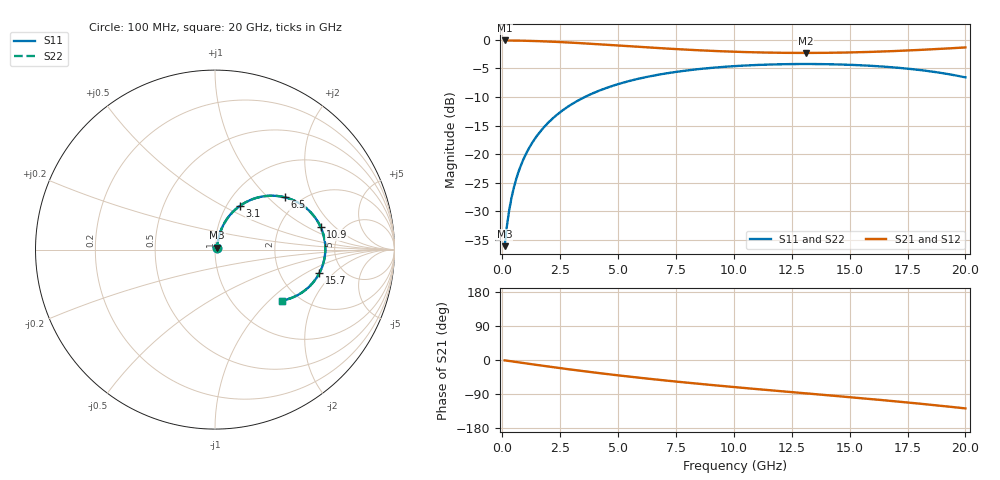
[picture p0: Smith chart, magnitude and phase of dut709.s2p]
! Touchstone file exported from HFSS 2026.1.0
!  File:  C:/ffzhzh/LocalFiles/Ansys_Project_Files/temp_train_TSV_RDL_709_1783200103_43440.aedt
!  Generated:  05:36:48 AM Jul  5, 2026
!  Design:  TSV_RDL
!  Project:  temp_train_TSV_RDL_709_1783200103_43440
! Variables:
!  h_bsmrdl = 4.23um
!  h_ox = 20um
!  h_rdl = 5um
!  h_sub = 87.81um
!  h_tmrdl = 5.22um
!  h_tsv = 87.81um
!  h_via = 3um
!  l_bsmrdl = 319.24um
!  l_sub = 2131.34um
!  l_tmrdl = 168.1um
!  m_sub = 200um
!  pitch = 53.33um
!  r_tsv = 4.15um
!  s_tmrdl = 10um
!  w_bsmrdl = 18.92um
!  w_sub = 500um
!  w_tmrdl = 14.82um
!  x_tsv_center1 = 175.51um
!  x_tsv_center2 = 513.67um
!  x_tsv_center3 = 696.59um
!  x_tsv_center4 = 1034.75um
!  x_tsv_center5 = 1217.67um
!  x_tsv_center6 = 1555.83um
# GHz S MA R 50.000000
! Terminal data exported
! Port[1] = TM_RDL1_1_T1
! Port[2] = TM_RDL5_1_T1
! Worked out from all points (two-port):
!   200 points, 100 MHz to 20 GHz, reference 50 ohm
!   highest |S21| = -0.10 dB at 100 MHz (marker M1); lowest = -2.3 dB at 13.1 GHz (marker M2)
!   |S21| within 3 dB of the highest: start of sweep to end of sweep
!   lowest |S11| = -36.1 dB at 100 MHz (marker M3), VSWR 1.03, Z = 51.2 + j1.02 ohm
!   |S11| at or under -10 dB: start of sweep to 3.567 GHz
!   |S22| runs from -36.1 to -4.2 dB; largest |S21 - S12| = 6.8e-13
!   S11 on the Smith chart (normalised r, x): 100 MHz: 1.02, +0.02; 3.1 GHz: 1.15, +0.61; 6.5 GHz: 1.66, +1.27; 10.9 GHz: 3.44, +1.36; 15.7 GHz: 3.36, -1.36; 20 GHz: 1.65, -1.20
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0.1  0.01564 39.5  0.988 -0.9  0.988 -0.9  0.01564 39.5
! Gamma 0 0 0 0
! Port Impedance 50 0 50 0
0.2  0.02352 57.1  0.9876 -1.8  0.9876 -1.8  0.02352 57.1
0.3  0.03244 64.8  0.9871 -2.7  0.9871 -2.7  0.03244 64.8
0.4  0.04167 68.8  0.9866 -3.5  0.9866 -3.5  0.04167 68.8
0.7  0.0699 73.0  0.9846 -6.2  0.9846 -6.2  0.0699 73.0
1  0.09823 73.3  0.9818 -8.8  0.9818 -8.8  0.09823 73.3
1.4  0.1356 71.8  0.9769 -12.2  0.9769 -12.2  0.1356 71.8
1.9  0.1809 68.8  0.9688 -16.5  0.9688 -16.5  0.1809 68.8
2.5  0.2327 64.6  0.9567 -21.5  0.9567 -21.5  0.2327 64.6
3.1  0.2811 60.3  0.9427 -26.3  0.9427 -26.3  0.2811 60.3
3.5  0.3114 57.3  0.9326 -29.4  0.9326 -29.4  0.3114 57.3
4.8  0.3979 48.1  0.8978 -39.1  0.8978 -39.1  0.3979 48.1
6.5  0.4852 37.0  0.8534 -50.6  0.8534 -50.6  0.4852 37.0
6.8  0.4978 35.1  0.8462 -52.5  0.8462 -52.5  0.4978 35.1
10.1  0.5902 16.3  0.7862 -71.9  0.7862 -71.9  0.5902 16.3
10.9  0.6017 12.1  0.7779 -76.3  0.7779 -76.3  0.6017 12.1
13.1  0.6148 0.8  0.7684 -88.0  0.7684 -88.0  0.6148 0.8
13.4  0.6145 -0.7  0.7686 -89.5  0.7686 -89.5  0.6145 -0.7
15.7  0.5961 -12.6  0.7823 -101.9  0.7823 -101.9  0.5961 -12.6
16.7  0.5785 -18.0  0.7946 -107.5  0.7946 -107.5  0.5785 -18.0
18.5  0.5296 -28.2  0.8257 -118.1  0.8257 -118.1  0.5296 -28.2
20  0.4695 -37.2  0.8583 -127.7  0.8583 -127.7  0.4695 -37.2
